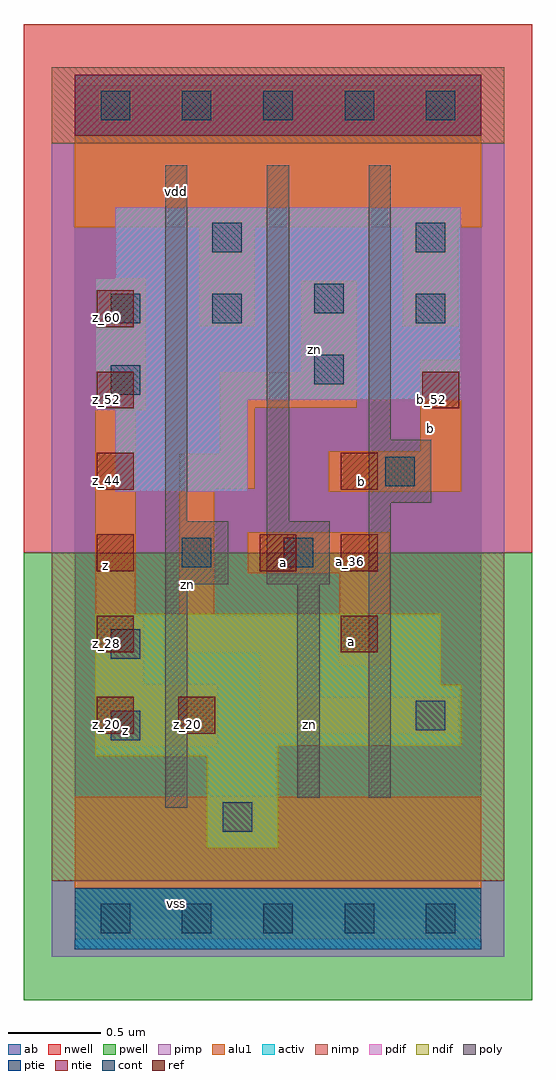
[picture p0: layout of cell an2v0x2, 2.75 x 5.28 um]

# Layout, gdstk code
import gdstk
lib = gdstk.Library(unit=1e-6, precision=2.5e-09)
def R(c, l, rs):  # rectangles x0, y0, x1, y1
    for r in rs: c.add(gdstk.rectangle(r[:2], r[2:], *l))
def A(c, l, x, y, w, h, nx, ny, dx, dy):  # array of equal rectangles
    R(c, l, [(x+i*dx, y+j*dy, x+i*dx+w, y+j*dy+h) for i in range(nx) for j in range(ny)])
ndif = (3, 0)
pdif = (4, 0)
ntie = (5, 0)
ptie = (6, 0)
ref = (24, 0)
cont = (25, 0)
pwell = (41, 0)
nwell = (42, 0)
activ = (43, 0)
pimp = (44, 0)
nimp = (45, 0)
poly = (46, 0)
alu1 = (49, 0)
ab = (63, 0)

an2v0x2 = lib.new_cell('an2v0x2')
R(an2v0x2, ndif, [(0.715,0.385,1.1,0.88), (0.11,0.88,1.1,0.935), (0.11,0.935,2.09,1.265), (0.11,1.265,1.98,1.65)])
R(an2v0x2, pdif, [(0.22,2.31,0.935,2.75), (0.11,2.75,0.935,2.805), (0.11,2.805,2.09,3.465), (0.22,3.465,2.09,3.85)])
R(an2v0x2, ntie, [(0,4.235,2.2,4.565)])
R(an2v0x2, ptie, [(0,-0.165,2.2,0.165)])
A(an2v0x2, ref, 0.12, 1, 0.2, 0.2, 1, 6, 0, 0.44)
A(an2v0x2, ref, 1.44, 1.44, 0.2, 0.2, 1, 3, 0, 0.44)
R(an2v0x2, ref, [(0.56,1,0.76,1.2), (1,1.88,1.2,2.08), (1.88,2.76,2.08,2.96)])
A(an2v0x2, cont, 0.14, -0.08, 0.16, 0.16, 5, 2, 0.44, 4.4)
R(an2v0x2, cont, [(0.8,0.47,0.96,0.63), (0.195,0.965,0.355,1.125), (1.845,1.02,2.005,1.18), (0.195,1.405,0.355,1.565), (0.58,1.9,0.74,2.06), (1.13,1.9,1.29,2.06), (1.68,2.34,1.84,2.5), (0.195,2.835,0.355,2.995), (1.295,2.89,1.455,3.05), (0.195,3.22,0.355,3.38), (0.745,3.22,0.905,3.38), (1.845,3.22,2.005,3.38), (1.295,3.275,1.455,3.435), (0.745,3.605,0.905,3.765), (1.845,3.605,2.005,3.765)])
R(an2v0x2, pwell, [(-0.275,-0.44,2.475,1.98)])
R(an2v0x2, nwell, [(-0.275,1.98,2.475,4.84)])
R(an2v0x2, activ, [(0,-0.165,2.2,0.165), (0.715,0.385,1.1,0.88), (0.11,0.88,1.1,0.935), (0.11,0.935,2.09,1.265), (0.11,1.265,1.98,1.65), (0.22,2.31,0.935,2.75), (0.11,2.75,0.935,2.805), (0.11,2.805,2.09,3.465), (0.22,3.465,2.09,3.85), (0,4.235,2.2,4.565)])
R(an2v0x2, pimp, [(-0.125,-0.205,2.325,0.205), (-0.125,1.98,2.325,4.195)])
R(an2v0x2, nimp, [(-0.125,0.205,2.325,1.98), (-0.125,4.195,2.325,4.605)])
R(an2v0x2, poly, [(0.49,0.6,0.61,1.81), (1.205,0.655,1.325,1.81), (1.59,0.655,1.71,2.25), (0.49,1.81,0.83,2.15), (1.04,1.81,1.38,2.15), (0.49,2.15,0.61,4.075), (1.04,2.15,1.16,4.075), (1.59,2.25,1.93,2.59), (1.59,2.59,1.71,4.075)])
R(an2v0x2, alu1, [(0,-0.11,2.2,0.66), (0.11,0.935,0.77,1.265), (1.005,1.005,2.075,1.195), (1.005,1.195,1.195,1.445), (0.11,1.265,0.37,1.635), (1.43,1.375,1.705,1.87), (0.565,1.445,1.195,1.635), (0.11,1.635,0.33,2.75), (0.565,1.635,0.755,2.325), (0.935,1.87,1.705,2.09), (1.375,2.31,2.09,2.53), (0.565,2.325,0.975,2.515), (0.785,2.515,0.975,2.765), (1.87,2.53,2.09,3.025), (0.11,2.75,0.385,3.465), (0.785,2.765,1.525,2.955), (1.225,2.955,1.525,3.45), (0.675,3.205,0.975,3.74), (1.775,3.205,2.075,3.74), (0,3.74,2.2,4.51)])
R(an2v0x2, ab, [(0,0,2.2,4.4)])
an2v0x2.add(gdstk.Label('vss', (0.55,0.0825), layer=49, texttype=0))
an2v0x2.add(gdstk.Label('zn', (1.2725,1.0525), layer=49, texttype=0))
an2v0x2.add(gdstk.Label('a', (1.4975,1.4975), layer=49, texttype=0))
an2v0x2.add(gdstk.Label('z', (0.275,1.0175), layer=49, texttype=0))
an2v0x2.add(gdstk.Label('a', (1.1275,1.925), layer=49, texttype=0))
an2v0x2.add(gdstk.Label('b', (1.5525,2.365), layer=49, texttype=0))
an2v0x2.add(gdstk.Label('zn', (0.6125,1.8075), layer=49, texttype=0))
an2v0x2.add(gdstk.Label('b', (1.925,2.6525), layer=49, texttype=0))
an2v0x2.add(gdstk.Label('z', (0.165,1.9125), layer=49, texttype=0))
an2v0x2.add(gdstk.Label('zn', (1.3,3.0775), layer=49, texttype=0))
an2v0x2.add(gdstk.Label('vdd', (0.55,3.9325), layer=49, texttype=0))
an2v0x2.add(gdstk.Label('z_60', (0.17,3.25), layer=24, texttype=0))
an2v0x2.add(gdstk.Label('z_52', (0.17,2.81), layer=24, texttype=0))
an2v0x2.add(gdstk.Label('z_44', (0.17,2.37), layer=24, texttype=0))
an2v0x2.add(gdstk.Label('z_36', (0.17,1.93), layer=24, texttype=0))
an2v0x2.add(gdstk.Label('z_28', (0.17,1.49), layer=24, texttype=0))
an2v0x2.add(gdstk.Label('z_20', (0.17,1.05), layer=24, texttype=0))
an2v0x2.add(gdstk.Label('b_52', (1.93,2.81), layer=24, texttype=0))
an2v0x2.add(gdstk.Label('b_44', (1.49,2.37), layer=24, texttype=0))
an2v0x2.add(gdstk.Label('a_36', (1.49,1.93), layer=24, texttype=0))
an2v0x2.add(gdstk.Label('a_28', (1.49,1.49), layer=24, texttype=0))
an2v0x2.add(gdstk.Label('a_36', (1.05,1.93), layer=24, texttype=0))
an2v0x2.add(gdstk.Label('z_20', (0.61,1.05), layer=24, texttype=0))

lib.write_gds('an2v0x2.gds')
